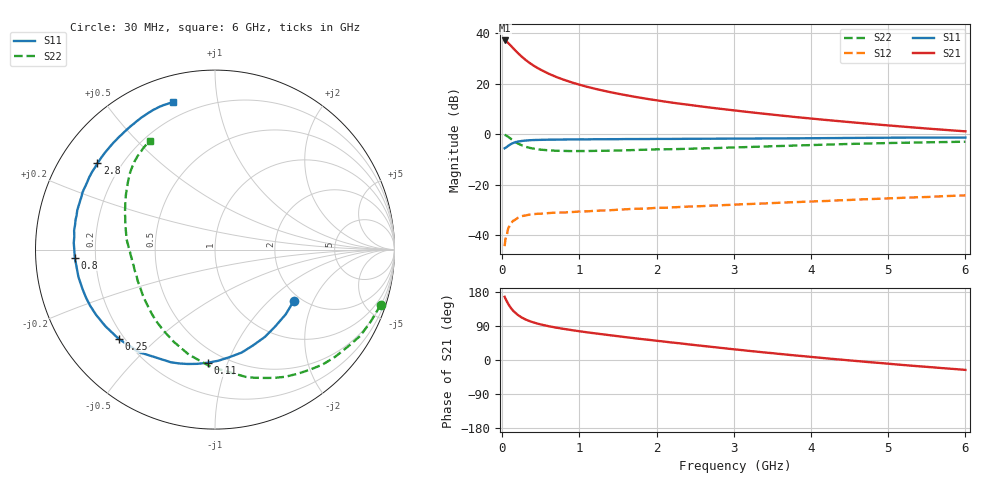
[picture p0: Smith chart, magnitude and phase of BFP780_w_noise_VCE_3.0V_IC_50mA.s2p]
! Infineon Technologies  Discrete & RF Semiconductors
! BFP780
! VCE =  3.0 V,  IC =  50 mA
! Common Emitter S-Parameters:  Jul 2015
# GHz  S  MA  R  50
!  f  S11  S21  S12  S22
! GHz  MAG  ANG  MAG  ANG  MAG  ANG  MAG  ANG
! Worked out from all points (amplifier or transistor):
!   75 points, 30 MHz to 6 GHz, reference 50 ohm
!   highest |S21| = 37.2 dB at 30 MHz (marker M1)
!   |S21| within 3 dB of that: start of sweep to 138.6 MHz
!   unconditionally stable (mu >= 1): 2.029 GHz to end of sweep
!   at 150 MHz: K = 0.12, MSG = 34.0 dB, |S12| = -34.3 dB
!   at 2.3 GHz: K = 1.08, MAG = 18.7 dB, |S12| = -28.9 dB
!   at 6 GHz: K = 1.30, MAG = 9.4 dB, |S12| = -24.3 dB
!   lowest NFmin = 1.39 dB at 450 MHz
!   S11 on the Smith chart (normalised r, x): 30 MHz: 1.84, -1.44; 110 MHz: 0.41, -0.85; 250 MHz: 0.18, -0.38; 800 MHz: 0.12, -0.03; 2.8 GHz: 0.11, +0.32; 6 GHz: 0.12, +0.75
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0.03  0.5238 -32.8  72.04 166.8  0.006 73.0  0.9727 -18.5
0.05  0.5441 -52.0  69.16 158.1  0.0095 67.6  0.9412 -30.7
0.07  0.5742 -68.3  65.37 150.6  0.0123 59.4  0.8973 -41.7
0.09  0.6042 -82.2  61.13 143.7  0.0147 56.4  0.8524 -51.8
0.11  0.6318 -93.7  56.79 137.7  0.0167 53.1  0.8094 -61.1
0.13  0.6554 -103.5  52.76 132.6  0.0183 47.3  0.7659 -69.0
0.15  0.6741 -111.4  48.91 128.1  0.0193 42.7  0.7297 -76.4
0.2  0.7109 -126.5  40.78 119.1  0.0218 37.5  0.6543 -91.9
0.25  0.7314 -137.1  34.62 112.3  0.0236 31.9  0.6028 -104.0
0.3  0.7451 -145.0  29.8 107.1  0.0244 28.6  0.5634 -113.9
0.35  0.7555 -151.1  26.08 102.9  0.0253 26.2  0.5362 -121.9
0.45  0.7669 -159.7  20.77 96.4  0.0263 23.5  0.5035 -134.0
0.6  0.776 -168.6  15.81 89.2  0.0272 20.9  0.4778 -146.7
0.8  0.7825 -176.7  11.93 82.0  0.0279 19.9  0.4646 -157.8
1.1  0.7873 174.6  8.666 73.0  0.0294 20.1  0.462 -168.9
1.5  0.7944 166.0  6.327 62.8  0.0317 20.7  0.4738 -178.4
2.1  0.8042 155.1  4.437 48.5  0.0346 21.3  0.4993 171.4
2.8  0.8126 143.7  3.215 32.7  0.0386 21.2  0.5316 160.2
3.1  0.8165 139.1  2.842 26.2  0.0406 21.1  0.55 155.6
4.1  0.8315 125.1  1.972 6.3  0.0467 19.6  0.6128 142.4
5.1  0.8508 113.9  1.447 -11.6  0.0539 16.2  0.67 131.0
6  0.8545 105.8  1.135 -26.1  0.0611 11.8  0.7076 120.8
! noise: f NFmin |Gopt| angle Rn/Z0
0.45  1.39  0.42  -177  0.07
0.9  1.42  0.4  -172  0.08
1.5  1.49  0.47  -163  0.08
1.8  1.66  0.48  -159  0.09
2.4  1.79  0.49  -150  0.12
3  2.06  0.53  -140  0.17
3.5  2.54  0.67  -126  0.26
